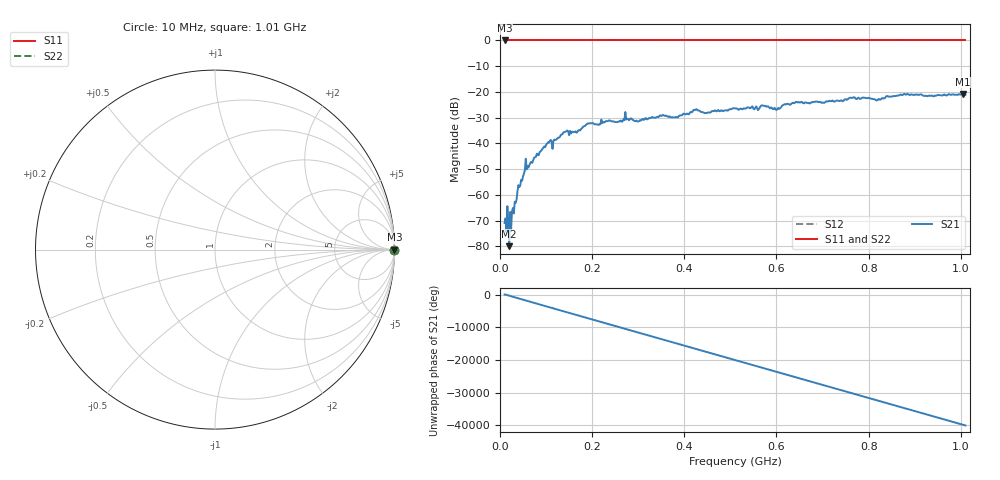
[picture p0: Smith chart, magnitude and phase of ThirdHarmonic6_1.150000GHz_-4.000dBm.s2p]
! 8/16/2025 11:24:05 AM
! C:\ANRITSUVNA\TEMP\TEMP.S2P
! CHANNEL.1
! TR.MEASUREMENT
! RAW.DATA
! RF.CORRECTION.OFF
! AVERAGING.OFF
! IF.BANDWIDTH: 5KHZ
! SWEEPTYPE:  FREQ.SWEEP(Linear)
! Reference Plane Port Info
! PORT:  PORT1  PORT2
! DISTANCE:  0  m  0  m
! TIME:  0  s  0  s
! PHASE.OFFSET:  0  deg.  0  deg.
! LOSS:  0  dB  0  dB
! REF.LOSS:  0  dB  0  dB
! REF.FREQ:  0  Hz  0  Hz
! Power Info
! POWER:  -20  dBm  -20  dBm
! EFF.POWER:  -20  dBm  -20  dBm
! SOURCE.ATTEN:  0  dB  0  dB
! TEST.ATTEN:  0  dB  0  dB
# GHZ S RI R 50.0
! FREQ.GHZ  S11RE  S11IM  S21RE  S21IM  S12RE  S12IM  S22RE  S22IM
!; PortSelection: Port_12
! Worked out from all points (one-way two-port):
!   501 points, 10 MHz to 1.01 GHz, reference 50 ohm
!   highest |S21| = -20.75 dB at 1.004 GHz (marker M1); lowest = -80.0 dB at 20 MHz (marker M2)
!   lowest |S11| = 0.0 dB at 10 MHz (marker M3)
!   |S11| at or under -10 dB: nowhere
!   |S22| runs from 0.0 to 0.0 dB; largest |S21 - S12| = 1.1
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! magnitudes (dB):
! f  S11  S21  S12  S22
! 10 MHz  0.0  -71.0  0.0  0.0
! 14 MHz  0.0  -74.5  0.0  0.0
! 16 MHz  0.0  -64.4  0.0  0.0
! 20 MHz  0.0  -80.0  0.0  0.0
! 24 MHz  0.0  -73.8  0.0  0.0
! 42 MHz  0.0  -57.0  0.0  0.0
! 58 MHz  0.0  -50.1  0.0  0.0
! 106 MHz  0.0  -39.7  0.0  0.0
! 118 MHz  0.0  -38.6  0.0  0.0
! 142 MHz  0.0  -35.5  0.0  0.0
! 178 MHz  0.0  -34.1  0.0  0.0
! 194 MHz  0.0  -32.2  0.0  0.0
! 344 MHz  0.0  -29.8  0.0  0.0
! 424 MHz  0.0  -27.0  0.0  0.0
! 510 MHz  0.0  -26.4  0.0  0.0
! 572 MHz  0.0  -25.4  0.0  0.0
! 602 MHz  0.0  -26.7  0.0  0.0
! 620 MHz  0.0  -24.9  0.0  0.0
! 678 MHz  0.0  -24.0  0.0  0.0
! 844 MHz  0.0  -21.8  0.0  0.0
! 1.004 GHz  0.0  -20.8  0.0  0.0
! 1.01 GHz  0.0  -21.2  0.0  0.0
